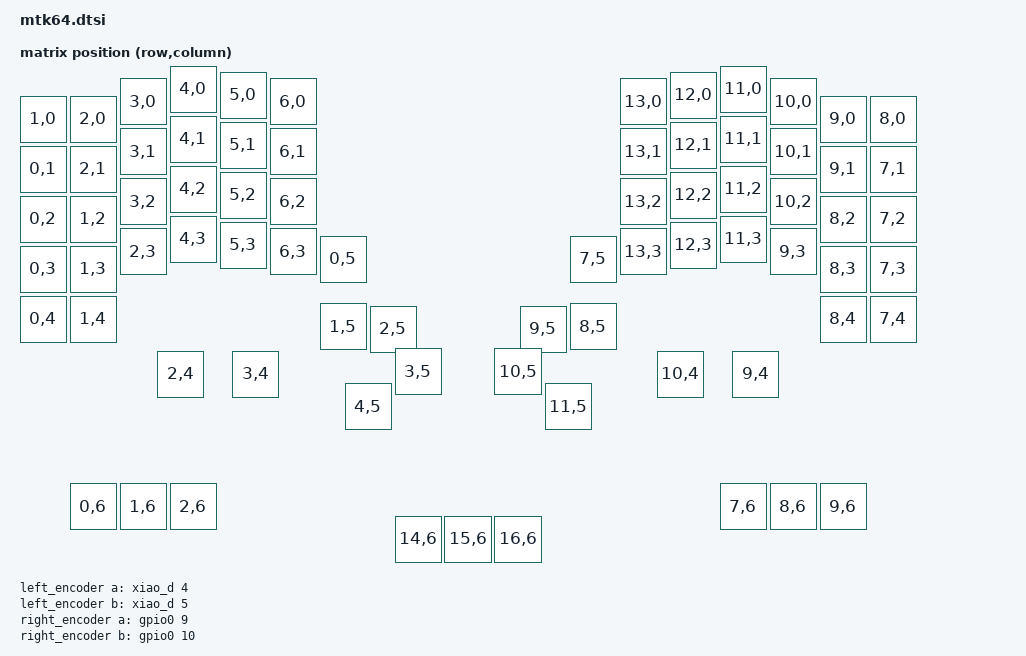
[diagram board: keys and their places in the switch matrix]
#include <dt-bindings/zmk/matrix_transform.h>
#include <physical_layouts.dtsi>

/ {
    chosen {
        zmk,physical-layout = &mtk64_physical_layout;
    };
    
    mtk64_physical_layout: mtk64_physical_layout {
        compatible = "zmk,physical-layout";
        display-name = "Default";
        transform = <&default_transform>;
        kscan = <&kscan0>;

        // https://zmk-physical-layout-converter.streamlit.app/
        keys  //                 w   h    x    y     rot    rx    ry
        = <&key_physical_attrs 100 100    0   60       0     0     0>
        , <&key_physical_attrs 100 100  100   60       0     0     0>
        , <&key_physical_attrs 100 100  200   25       0     0     0>
        , <&key_physical_attrs 100 100  300    0       0     0     0>
        , <&key_physical_attrs 100 100  400   12       0     0     0>
        , <&key_physical_attrs 100 100  500   25       0     0     0>
        , <&key_physical_attrs 100 100 1200   25       0     0     0>
        , <&key_physical_attrs 100 100 1300   12       0     0     0>
        , <&key_physical_attrs 100 100 1400    0       0     0     0>
        , <&key_physical_attrs 100 100 1500   25       0     0     0>
        , <&key_physical_attrs 100 100 1600   60       0     0     0>
        , <&key_physical_attrs 100 100 1700   60       0     0     0>

        , <&key_physical_attrs 100 100    0  160       0     0     0>
        , <&key_physical_attrs 100 100  100  160       0     0     0>
        , <&key_physical_attrs 100 100  200  125       0     0     0>
        , <&key_physical_attrs 100 100  300  100       0     0     0>
        , <&key_physical_attrs 100 100  400  112       0     0     0>
        , <&key_physical_attrs 100 100  500  125       0     0     0>
        , <&key_physical_attrs 100 100 1200  125       0     0     0>
        , <&key_physical_attrs 100 100 1300  112       0     0     0>
        , <&key_physical_attrs 100 100 1400  100       0     0     0>
        , <&key_physical_attrs 100 100 1500  125       0     0     0>
        , <&key_physical_attrs 100 100 1600  160       0     0     0>
        , <&key_physical_attrs 100 100 1700  160       0     0     0>

        , <&key_physical_attrs 100 100    0  260       0     0     0>
        , <&key_physical_attrs 100 100  100  260       0     0     0>
        , <&key_physical_attrs 100 100  200  225       0     0     0>
        , <&key_physical_attrs 100 100  300  200       0     0     0>
        , <&key_physical_attrs 100 100  400  212       0     0     0>
        , <&key_physical_attrs 100 100  500  225       0     0     0>
        , <&key_physical_attrs 100 100 1200  225       0     0     0>
        , <&key_physical_attrs 100 100 1300  212       0     0     0>
        , <&key_physical_attrs 100 100 1400  200       0     0     0>
        , <&key_physical_attrs 100 100 1500  225       0     0     0>
        , <&key_physical_attrs 100 100 1600  260       0     0     0>
        , <&key_physical_attrs 100 100 1700  260       0     0     0>

        , <&key_physical_attrs 100 100    0  360       0     0     0>
        , <&key_physical_attrs 100 100  100  360       0     0     0>
        , <&key_physical_attrs 100 100  200  325       0     0     0>
        , <&key_physical_attrs 100 100  300  300       0     0     0>
        , <&key_physical_attrs 100 100  400  312       0     0     0>
        , <&key_physical_attrs 100 100  500  325       0     0     0>
        , <&key_physical_attrs 100 100  600  340       0     0     0>
        , <&key_physical_attrs 100 100 1100  340       0     0     0>
        , <&key_physical_attrs 100 100 1200  325       0     0     0>
        , <&key_physical_attrs 100 100 1300  312       0     0     0>
        , <&key_physical_attrs 100 100 1400  300       0     0     0>
        , <&key_physical_attrs 100 100 1500  325       0     0     0>
        , <&key_physical_attrs 100 100 1600  360       0     0     0>
        , <&key_physical_attrs 100 100 1700  360       0     0     0>

        , <&key_physical_attrs 100 100    0  460       0     0     0>
        , <&key_physical_attrs 100 100  100  460       0     0     0>
        , <&key_physical_attrs 100 100  600  475       0     0     0>
        , <&key_physical_attrs 100 100  700  480       0     0     0>
        , <&key_physical_attrs 100 100 1000  480       0     0     0>
        , <&key_physical_attrs 100 100 1100  475       0     0     0>
        , <&key_physical_attrs 100 100 1600  460       0     0     0>
        , <&key_physical_attrs 100 100 1700  460       0     0     0>
        
        , <&key_physical_attrs 100 100  275  570       0     0     0>
        , <&key_physical_attrs 100 100  425  570       0     0     0>
        , <&key_physical_attrs 100 100  750  565       0     0     0>
        , <&key_physical_attrs 100 100  950  565       0     0     0>
        , <&key_physical_attrs 100 100 1275  570       0     0     0>
        , <&key_physical_attrs 100 100 1425  570       0     0     0>

        , <&key_physical_attrs 100 100  650  635       0     0     0>
        , <&key_physical_attrs 100 100 1050  635       0     0     0>

        , <&key_physical_attrs 100 100  100  835       0     0     0>
        , <&key_physical_attrs 100 100  200  835       0     0     0>
        , <&key_physical_attrs 100 100  300  835       0     0     0>
        , <&key_physical_attrs 100 100 1400  835       0     0     0>
        , <&key_physical_attrs 100 100 1500  835       0     0     0>
        , <&key_physical_attrs 100 100 1600  835       0     0     0>

        , <&key_physical_attrs 100 100  750  900       0     0     0>
        , <&key_physical_attrs 100 100  850  900       0     0     0>
        , <&key_physical_attrs 100 100  950  900       0     0     0>

            ;
    };

    default_transform: keymap_transform_0 {
        compatible = "zmk,matrix-transform";
        columns = <21>;
        rows = <7>;               

        map = <
        RC(1,0)  RC(2,0)  RC(3,0)  RC(4,0)  RC(5,0)  RC(6,0)                    RC(13,0)  RC(12,0) RC(11,0) RC(10,0) RC(9,0)  RC(8,0)  
        RC(0,1)  RC(2,1)  RC(3,1)  RC(4,1)  RC(5,1)  RC(6,1)                    RC(13,1)  RC(12,1) RC(11,1) RC(10,1) RC(9,1)  RC(7,1)  
        RC(0,2)  RC(1,2)  RC(3,2)  RC(4,2)  RC(5,2)  RC(6,2)                    RC(13,2)  RC(12,2) RC(11,2) RC(10,2) RC(8,2)  RC(7,2)  
        RC(0,3)  RC(1,3)  RC(2,3)  RC(4,3)  RC(5,3)  RC(6,3)  RC(0,5)  RC(7,5)  RC(13,3)  RC(12,3) RC(11,3) RC(9,3)  RC(8,3)  RC(7,3)  
        RC(0,4)  RC(1,4)                             RC(1,5)  RC(2,5)  RC(9,5)  RC(8,5)                              RC(8,4)  RC(7,4)  
                          RC(2,4)           RC(3,4)           RC(3,5)  RC(10,5)           RC(10,4)          RC(9,4)            
                                                              RC(4,5)  RC(11,5)                                
                 RC(0,6)  RC(1,6)  RC(2,6)                                                         RC(7,6)  RC(8,6)  RC(9,6)  
                                                         RC(14,6) RC(15,6) RC(16,6)  
             >;
    };
    
    kscan0: kscan {
        compatible = "zmk,kscan-gpio-charlieplex";
        wakeup-source;

        interrupt-gpios = <&xiao_d 10 (GPIO_ACTIVE_HIGH | GPIO_PULL_DOWN)>;
        gpios =   <&xiao_d 1 GPIO_ACTIVE_HIGH> 
                , <&xiao_d 2 GPIO_ACTIVE_HIGH> 
                , <&xiao_d 3 GPIO_ACTIVE_HIGH> 
                , <&xiao_d 6 GPIO_ACTIVE_HIGH>
                , <&xiao_d 7 GPIO_ACTIVE_HIGH> 
                , <&xiao_d 8 GPIO_ACTIVE_HIGH> 
                , <&xiao_d 9 GPIO_ACTIVE_HIGH> 	
                ;

    };

    left_encoder: encoder_left {
        compatible = "alps,ec11";
        a-gpios = <&xiao_d 4 (GPIO_ACTIVE_HIGH | GPIO_PULL_UP)>;
        b-gpios = <&xiao_d 5 (GPIO_ACTIVE_HIGH | GPIO_PULL_UP)>;
        steps = <15>;
        status = "disabled";
    };

    right_encoder: encoder_right {
        compatible = "alps,ec11";
        a-gpios = <&gpio0 9 (GPIO_ACTIVE_HIGH | GPIO_PULL_UP)>;
        b-gpios = <&gpio0 10 (GPIO_ACTIVE_HIGH | GPIO_PULL_UP)>;
        steps = <15>;
        status = "disabled";
    };

    sensors: sensors {
        compatible = "zmk,keymap-sensors";
        sensors = <&left_encoder &right_encoder>;
        triggers-per-rotation = <10>;
    };
};

&uicr {
        nfct-pins-as-gpios;
};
